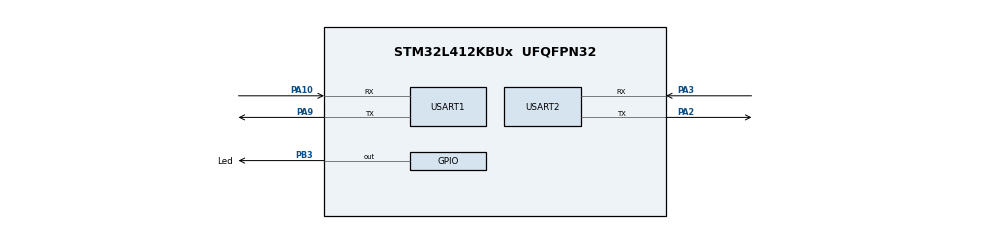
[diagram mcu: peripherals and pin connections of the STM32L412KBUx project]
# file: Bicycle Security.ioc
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FREERTOS.Mutexes01=uartMutex,Dynamic,NULL
FREERTOS.Tasks01=defaultTask,0,128,Thread1,Default,NULL,Dynamic,NULL,NULL;myTask02,-3,128,Thread2,Default,NULL,Dynamic,NULL,NULL
Mcu.Family=STM32L4
Mcu.Name=STM32L412KBUx
Mcu.Package=UFQFPN32
NVIC.FPU_IRQn=true\:5\:0\:true\:false\:true\:true\:true
NVIC.PriorityGroup=NVIC_PRIORITYGROUP_4
NVIC.TIM1_UP_TIM16_IRQn=true\:0\:0\:false\:false\:true\:false\:false
NVIC.TimeBase=TIM1_UP_TIM16_IRQn
NVIC.TimeBaseIP=TIM16
NVIC.USART1_IRQn=true\:5\:0\:false\:false\:true\:true\:true
PA10.Mode=Asynchronous
PA10.Signal=USART1_RX
PA2.Mode=Asynchronous
PA2.Signal=USART2_TX
PA3.Mode=Asynchronous
PA3.Signal=USART2_RX
PA9.Mode=Asynchronous
PA9.Signal=USART1_TX
PB3\ (JTDO/TRACESWO).GPIO_Label=Led
PB3\ (JTDO/TRACESWO).Signal=GPIO_Output
ProjectManager.HeapSize=0x200
ProjectManager.StackSize=0x400
ProjectManager.TargetToolchain=MDK-ARM V5
RCC.ADCFreq_Value=4000000
RCC.HSE_VALUE=8000000
RCC.HSI48_VALUE=48000000
RCC.HSI_VALUE=16000000
RCC.LSE_VALUE=32768
RCC.MSI_VALUE=4000000
RCC.USBFreq_Value=4000000
RCC.VCOOutputFreq_Value=32000000
USART1.VirtualMode-Asynchronous=VM_ASYNC
USART2.VirtualMode-Asynchronous=VM_ASYNC
VP_FREERTOS_VS_ENABLE.Mode=Enabled
VP_SYS_VS_tim16.Mode=TIM16
board=custom

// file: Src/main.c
	/**
	******************************************************************************
	* @file           : main.c
	* @brief          : Main program body
	******************************************************************************
	* This notice applies to any and all portions of this file
	* that are not between comment pairs USER CODE BEGIN and
	* USER CODE END. Other portions of this file, whether
	* inserted by the user or by software development tools
	* are owned by their respective copyright owners.
	*
	* Copyright (c) 2019 STMicroelectronics International N.V.
	* All rights reserved.
	*
	* Redistribution and use in source and binary forms, with or without
	* modification, are permitted, provided that the following conditions are met:
	*
	* 1. Redistribution of source code must retain the above copyright notice,
	*    this list of conditions and the following disclaimer.
	* 2. Redistributions in binary form must reproduce the above copyright notice,
	*    this list of conditions and the following disclaimer in the documentation
	*    and/or other materials provided with the distribution.
	* 3. Neither the name of STMicroelectronics nor the names of other
	*    contributors to this software may be used to endorse or promote products
	*    derived from this software without specific written permission.
	* 4. This software, including modifications and/or derivative works of this
	*    software, must execute solely and exclusively on microcontroller or
	*    microprocessor devices manufactured by or for STMicroelectronics.
	* 5. Redistribution and use of this software other than as permitted under
	*    this license is void and will automatically terminate your rights under
	*    this license.
	*
	* THIS SOFTWARE IS PROVIDED BY STMICROELECTRONICS AND CONTRIBUTORS "AS IS"
	* AND ANY EXPRESS, IMPLIED OR STATUTORY WARRANTIES, INCLUDING, BUT NOT
	* LIMITED TO, THE IMPLIED WARRANTIES OF MERCHANTABILITY, FITNESS FOR A
	* PARTICULAR PURPOSE AND NON-INFRINGEMENT OF THIRD PARTY INTELLECTUAL PROPERTY
	* RIGHTS ARE DISCLAIMED TO THE FULLEST EXTENT PERMITTED BY LAW. IN NO EVENT
	* SHALL STMICROELECTRONICS OR CONTRIBUTORS BE LIABLE FOR ANY DIRECT, INDIRECT,
	* INCIDENTAL, SPECIAL, EXEMPLARY, OR CONSEQUENTIAL DAMAGES (INCLUDING, BUT NOT
	* LIMITED TO, PROCUREMENT OF SUBSTITUTE GOODS OR SERVICES; LOSS OF USE, DATA,
	* OR PROFITS; OR BUSINESS INTERRUPTION) HOWEVER CAUSED AND ON ANY THEORY OF
	* LIABILITY, WHETHER IN CONTRACT, STRICT LIABILITY, OR TORT (INCLUDING
	* NEGLIGENCE OR OTHERWISE) ARISING IN ANY WAY OUT OF THE USE OF THIS SOFTWARE,
	* EVEN IF ADVISED OF THE POSSIBILITY OF SUCH DAMAGE.
	*
	******************************************************************************
	*/
	/* Includes ------------------------------------------------------------------*/
	#include "main.h"
	#include "stm32l4xx_hal.h"
	#include "cmsis_os.h"
	#include "stdbool.h"
	#include <string.h>
	#include <stdio.h>
	/* USER CODE BEGIN Includes */
	#define DEBUG true
	/* USER CODE END Includes */

	/* Private variables ---------------------------------------------------------*/
	UART_HandleTypeDef huart1;
	UART_HandleTypeDef huart2;

	osThreadId defaultTaskHandle;
	osThreadId myTask02Handle;
	osMutexId uartMutexHandle;

	char buffer[300];
	char * OK_reply = "";
	uint8_t reply[300];
	//char phone_no[] = "+923323567799"; // replace with your phone no.
	char *state, *timegps, *latitude, *longitude;
	uint8_t p1[ 20 ] = "Priority Thread 1\n";
	uint8_t p2[ 20 ] = "Priority Thread 2\n";
	uint8_t data[200];
	uint8_t ledOn[ 20 ] = "LED IS ON\n";
	uint8_t ledOff[ 20 ] = "LED IS OFF\n";
	uint8_t print[] = "HELLO WORLD\n";
	uint8_t print2[] = "SLEEPING WORLD\n";
	uint8_t msg[ 40 ] = "Message Recieved\n";
	uint8_t rx_data = 0;
	uint8_t rx_buffer[20];
	volatile bool check = false;
	volatile bool check2 = false;

	/* USER CODE BEGIN PV */
	char str[90];
	const char DEFAULT1[]     = "AT&F0\r\n";
	const char ECHO[]         = "ATE0\r\n";
	const char SAVE[]         = "AT&W\r\n";
	const char CMEE[]         = "AT+CMEE=2\r\n";
	const char AT[]           = "AT\r\n";
	const char CREG[]         = "AT+CREG?\r\n";
	const char CSQ[]          = "AT+CSQ\r\n";
	const char COPS[]         = "AT+COPS?\r\n";
	const char SAPBR3_1[]     = "AT+SAPBR=3,1,\"CONTYPE\",\"GPRS\"\r\n";
	const char APN[]          = "AT+SAPBR=3,1,\"APN\",\"internet\"\r\n";
	const char USER[]         = "AT+SAPBR=3,1,\"USER\",\"Telenor\"\r\n";
	const char PWD[]          = "AT+SAPBR=3,1,\"PWD\",\"Telenor\"\r\n";
	const char SAPBR1_1[]     = "AT+SAPBR=1,1\r\n";
	const char SAPBR0_1[]     = "AT+SAPBR=0,1\r\n";
	const char SAPBR2_1[]     = "AT+SAPBR=2,1\r\n";   //AT+SAPBR=0,1\r\n to slose bearier
	const char HTTPINIT[]     = "AT+HTTPINIT\r\n";
	const char HTTPPARACID[]  = "AT+HTTPPARA=\"CID\",1\r\n";
	//const char HTTPSTATUS[] = "AT+HTTPSTATUS?\r\n";
	const char HTTPACTION[]   = "AT+HTTPACTION=0\r\n";
	const char HTTPREAD[]     = "AT+HTTPREAD\r\n";
	const char HTTPTERM[]     = "AT+HTTPTERM\r\n";
	const char NewLine[]      = "\r\n";
	char* OK_REPLY;

	/* USER CODE END PV */

	/* Private function prototypes -----------------------------------------------*/
	void SystemClock_Config(void);
	static void MX_GPIO_Init(void);
	static void MX_USART1_UART_Init(void);
	static void MX_USART2_UART_Init(void);
	void Thread1(void const * argument);
	void Thread2(void const * argument);
	void setup(void);
	void loop(void);
	void sendMSG(char*, char*);
	void updateSerial(void);
	void gprs(void);
	char* Check_OK(char []);

	/* USER CODE BEGIN PFP */
	/* Private function prototypes -----------------------------------------------*/

	/* USER CODE END PFP */

	/* USER CODE BEGIN 0 */
	//void HAL_UART_RxCpltCallback(UART_HandleTypeDef *huart)
	//{
	//	HAL_UART_Transmit ( &huart2, print2 , sizeof( print2 ), 100 );
	//	if(huart->Instance == USART2){
	//		HAL_UART_Receive_IT ( &huart2, &rx_data , 1);
	//	  HAL_UART_Transmit ( &huart2, &rx_data , 1, 100 );
	//		check = true;
	//	}
	//	if(huart->Instance == USART1){
	//		HAL_UART_Receive_IT ( &huart1, &rx_data , 1);
	//	  HAL_UART_Transmit ( &huart2, &rx_data , 1, 100 );
	//		check2 = true;
	//	}
	//}
	/* USER CODE END 0 */

	/**
	* @brief  The application entry point.
	*
	* @retval None
	*/
	int main(void)
	{

	/* MCU Configuration----------------------------------------------------------*/

	/* Reset of all peripherals, Initializes the Flash interface and the Systick. */
	HAL_Init();

	/* Configure the system clock */
	SystemClock_Config();

	/* Initialize all configured peripherals */
	MX_GPIO_Init();
	MX_USART1_UART_Init();
	MX_USART2_UART_Init();
	/* USER CODE BEGIN 2 */
	setup();
	//	HAL_UART_Receive_IT(&huart2, &rx_data, 1);
	//	HAL_UART_Receive_IT(&huart1, &rx_data, 1);
	/* USER CODE END 2 */

	/* Create the mutex(es) */
	/* definition and creation of uartMutex */
	osMutexDef(uartMutex);
	uartMutexHandle = osMutexCreate(osMutex(uartMutex));

	/* Create the thread(s) */
	/* definition and creation of defaultTask */
	osThreadDef(defaultTask, Thread1, osPriorityRealtime, 0, 128);
	defaultTaskHandle = osThreadCreate(osThread(defaultTask), NULL);

	/* definition and creation of myTask02 */
	osThreadDef(myTask02, Thread2, osPriorityHigh, 0, 128);
	myTask02Handle = osThreadCreate(osThread(myTask02), NULL);

	/* Start scheduler */
	osKernelStart();

	/* We should never get here as control is now taken by the scheduler */

	/* Infinite loop */
	/* USER CODE BEGIN WHILE */
	setvbuf(stdin, NULL, _IONBF, 0);
	while (1)
	{

	}
	/* USER CODE END 3 */

	}

	/**
	* @brief System Clock Configuration
	* @retval None
	*/

	void sendMSG(char* latitude, char* longitude){
	char nl[] = "\r\n";
	uint8_t CMGS[] = "AT+CMGS=\"+923323567799""\"\r\n";
	char URL[100];
	char foo[] = { 26 };
	char *Latitude , *Longitude;
	Latitude = latitude;
	Longitude = longitude;
	memset(URL , '\0', strlen(URL));
	strcpy(URL , "http://maps.google.com/maps?q=loc:");
	strcat (URL , Latitude);
	strcat(URL , ",");
	strcat (URL , Longitude);
	if(DEBUG){
	osSemaphoreWait(uartMutexHandle ,portMAX_DELAY);
	HAL_UART_Transmit ( &huart2, (uint8_t*)nl, sizeof( nl ), 1000 );
	osSemaphoreRelease(uartMutexHandle);
	}
	memset( reply, '\0', sizeof( reply ) );
	osSemaphoreWait(uartMutexHandle ,portMAX_DELAY);
	HAL_UART_Transmit (&huart1, (uint8_t*)CMGS, strlen( CMGS ), 1000 );
	HAL_Delay(30);
	HAL_UART_Transmit ( &huart1, (uint8_t*)URL, strlen( URL ), 1000 );
	HAL_UART_Transmit( &huart1, (uint8_t*)foo, strlen( foo ), 1000);
	HAL_UART_Transmit (&huart1, (uint8_t*)nl, sizeof( nl ), 1000 );
	HAL_UART_Transmit (&huart1, (uint8_t*)nl, sizeof( nl ), 1000 );
	HAL_UART_Receive  (&huart1, (uint8_t*)reply, sizeof(reply), 1000);
	osSemaphoreRelease(uartMutexHandle);
	if(DEBUG){
	osSemaphoreWait(uartMutexHandle ,portMAX_DELAY);
	HAL_UART_Transmit (&huart2, (uint8_t*)reply, sizeof( reply ), 1000 );
	osSemaphoreRelease(uartMutexHandle);
	}
	}

	void setup(void){
	HAL_GPIO_WritePin(Led_GPIO_Port, Led_Pin, GPIO_PIN_RESET);
	HAL_Delay(3000);
	HAL_GPIO_WritePin(Led_GPIO_Port, Led_Pin, GPIO_PIN_SET);
	HAL_Delay(3000);
	uint8_t initial[ 20 ] = "Initializing...\n";
	uint8_t factoryDefault[] = "AT&F\r\n";
	uint8_t AT[] = "AT\r\n";
	uint8_t CSMP[] = "AT+CSMP=17,167,0,0\r\n";
	uint8_t CMGF[] = "AT+CMGF=1\r\n";
	uint8_t CNMI[] = "AT+CNMI=1,2,0,0,0\r\n";
	uint8_t CGNSPWR[] = "AT+CGNSPWR=1\r\n";
	uint8_t CGNSSEQ[] = "AT+CGNSSEQ=RMC\r\n";
	uint8_t buffer[150];
		if(DEBUG){
	HAL_UART_Transmit ( &huart2, initial, sizeof( initial ), 10 );
		}
	memset(buffer,0,sizeof(buffer));
	HAL_UART_Transmit (&huart1, factoryDefault, sizeof( factoryDefault ), 10 );
	HAL_UART_Receive(&huart1, buffer, sizeof(buffer), 10);
		if(DEBUG){
	HAL_UART_Transmit ( &huart2, buffer, sizeof( buffer ), 10 );
		}
	memset(buffer,0,sizeof(buffer));
	HAL_UART_Transmit (&huart1, AT, sizeof( AT ), 10 );
	HAL_UART_Receive(&huart1, buffer, sizeof(buffer), 10);
		if(DEBUG){
	HAL_UART_Transmit ( &huart2, buffer, sizeof( buffer ), 10 );
		}
	memset(buffer,0,sizeof(buffer));
	HAL_UART_Transmit (&huart1, CSMP, sizeof( CSMP), 10 );
	HAL_UART_Receive(&huart1, buffer, sizeof(buffer), 10);
		if(DEBUG){
	HAL_UART_Transmit ( &huart2, buffer, sizeof( buffer ), 10 );
		}
	memset(buffer,0,sizeof(buffer));
	HAL_UART_Transmit (&huart1, CGNSPWR, sizeof( CGNSPWR ), 10 );
	HAL_UART_Receive(&huart1, buffer, sizeof(buffer), 10);
		if(DEBUG){
	HAL_UART_Transmit ( &huart2, buffer, sizeof( buffer ), 10 );
		}
	memset(buffer,0,sizeof(buffer));
	HAL_UART_Transmit (&huart1, CGNSSEQ, sizeof( CGNSSEQ ), 10 );
	HAL_UART_Receive(&huart1, buffer, sizeof(buffer), 10);
		if(DEBUG){
	HAL_UART_Transmit ( &huart2, buffer, sizeof( buffer ), 10 );
		}
	memset(buffer,0,sizeof(buffer));
	HAL_UART_Transmit (&huart1, CMGF, sizeof( CMGF ), 10 );
	HAL_UART_Receive(&huart1, buffer, sizeof(buffer), 10);
		if(DEBUG){
	HAL_UART_Transmit ( &huart2, buffer, sizeof( buffer ), 10 );
		}
	memset(buffer,0,sizeof(buffer));
	HAL_UART_Transmit (&huart1, CNMI, sizeof( CNMI ), 10 );
	HAL_UART_Receive(&huart1, buffer, sizeof(buffer), 10);
		if(DEBUG){
	HAL_UART_Transmit ( &huart2, buffer, sizeof( buffer ), 10 );
		}
	}

	void updateSerial(void){

	memset( data, '\0', sizeof( data ) );
	osSemaphoreWait(uartMutexHandle ,portMAX_DELAY);
	HAL_UART_Receive(&huart1, data, sizeof(data), 1000);
	osSemaphoreRelease(uartMutexHandle);
	if ((strstr(data, "On")) || (strstr(data, "Off")))
	{
	if (strstr(data, "On")) {
	HAL_GPIO_WritePin(Led_GPIO_Port, Led_Pin, GPIO_PIN_SET);
		if(DEBUG){
	osSemaphoreWait(uartMutexHandle ,portMAX_DELAY);
	HAL_UART_Transmit ( &huart2, ledOn, sizeof(ledOn), 10 );
	osSemaphoreRelease(uartMutexHandle);
		}
	}
	else if (strstr(data, "Off")) {
	HAL_GPIO_WritePin(Led_GPIO_Port, Led_Pin, GPIO_PIN_RESET);
		if(DEBUG){
	osSemaphoreWait(uartMutexHandle ,portMAX_DELAY);
	HAL_UART_Transmit ( &huart2, ledOff, sizeof(ledOff), 10 );
	osSemaphoreRelease(uartMutexHandle);
		}
	}
	if(DEBUG){
	osSemaphoreWait(uartMutexHandle ,portMAX_DELAY);
	HAL_UART_Transmit ( &huart2,p1, sizeof( p1 ), 10 );
	HAL_UART_Transmit(&huart2, data, sizeof(data), 10 );
	osSemaphoreRelease(uartMutexHandle);
	}
	}
	}

	void loop(void){
	uint8_t comma_count = 0;
	char delim[] = ",";
	char dataGSM[100];
	char *token;
	uint8_t newline[] = "\n";
	uint8_t CGNSINF[] = "AT+CGNSINF\r";
	uint8_t varState[] = "\n\nState  : ";
	uint8_t varfTime[] = "    Time  : ";
	uint8_t varLatitude[] = "    Latitude  : ";
	uint8_t varLongitude[] = "    Longitude  : ";
	uint8_t initGPS[] = "\nGPS InitializingЕ\n";
	memset(dataGSM,'\0',sizeof(dataGSM));
	osSemaphoreWait(uartMutexHandle ,portMAX_DELAY);
	HAL_UART_Transmit (&huart1, (uint8_t*)CGNSINF, sizeof( CGNSINF ), 5 );
	HAL_UART_Receive(&huart1, (uint8_t*)dataGSM, sizeof(dataGSM), 10);
	osSemaphoreRelease(uartMutexHandle);
		if(DEBUG){
	osSemaphoreWait(uartMutexHandle ,portMAX_DELAY);
	HAL_UART_Transmit ( &huart2, (uint8_t*)dataGSM, sizeof( dataGSM), 10 );
	osSemaphoreRelease(uartMutexHandle);
		}
	for(int i = 0; i< 15;i++){
	dataGSM[i] = ',';
	}
	token = strtok (dataGSM,delim);
	while (comma_count <= 3)
	{
	token = strtok(NULL, delim);
	comma_count++;
	switch (comma_count) {
	case 1 :
	state = token;
	break;
	case 2 :
	timegps = token;
	break;
	case 3 :
	latitude = token;
	break;
	case 4:
	longitude = token;
	break;
	}
	}
	if (*state != 0) {
	gprs();
	//sendMSG(latitude,longitude);
		if(DEBUG){
	osSemaphoreWait(uartMutexHandle ,portMAX_DELAY);
	HAL_UART_Transmit ( &huart2, varState, sizeof( varState ), 10 );
	osSemaphoreRelease(uartMutexHandle);
	osSemaphoreWait(uartMutexHandle ,portMAX_DELAY);
	HAL_UART_Transmit ( &huart2, (uint8_t*)state, strlen( state ), 10);
	osSemaphoreRelease(uartMutexHandle);
	osSemaphoreWait(uartMutexHandle ,portMAX_DELAY);
	HAL_UART_Transmit ( &huart2, varfTime, sizeof( varfTime ), 10 );
	osSemaphoreRelease(uartMutexHandle);
	osSemaphoreWait(uartMutexHandle ,portMAX_DELAY);
	HAL_UART_Transmit ( &huart2, (uint8_t*)timegps , strlen( timegps ), 10 );
	osSemaphoreRelease(uartMutexHandle);
	osSemaphoreWait(uartMutexHandle ,portMAX_DELAY);
	HAL_UART_Transmit ( &huart2, varLatitude, sizeof( varLatitude ), 10 );
	osSemaphoreRelease(uartMutexHandle);
	osSemaphoreWait(uartMutexHandle ,portMAX_DELAY);
	HAL_UART_Transmit ( &huart2, (uint8_t*)latitude, strlen( latitude ), 10 );
	osSemaphoreRelease(uartMutexHandle);
	osSemaphoreWait(uartMutexHandle ,portMAX_DELAY);
	HAL_UART_Transmit ( &huart2, varLongitude, sizeof( varLongitude ), 10 );
	osSemaphoreRelease(uartMutexHandle);
	osSemaphoreWait(uartMutexHandle ,portMAX_DELAY);
	HAL_UART_Transmit ( &huart2, (uint8_t*)longitude , strlen( longitude ), 10 );
	osSemaphoreRelease(uartMutexHandle);
	osSemaphoreWait(uartMutexHandle ,portMAX_DELAY);
	HAL_UART_Transmit (&huart2, (uint8_t*)newline, sizeof( newline ), 10 );
	osSemaphoreRelease(uartMutexHandle);
	osSemaphoreWait(uartMutexHandle ,portMAX_DELAY);
	HAL_UART_Transmit (&huart2, (uint8_t*)newline, sizeof( newline ), 10 );
	osSemaphoreRelease(uartMutexHandle);
}
	}
	else {
		if(DEBUG){
	osSemaphoreWait(uartMutexHandle ,portMAX_DELAY);
	HAL_UART_Transmit ( &huart2, (uint8_t*)initGPS, sizeof( initGPS ), 10 );
	osSemaphoreRelease(uartMutexHandle);
		}
	}
	}

	void gprs(void){
			char *state = "ON";
	strcpy(str, "AT+HTTPPARA=\"""URL""\",\"http://zafarobad.000webhostapp.com/sensor1.php?api=XjUyT9K0&&temp=");
	strcat (str, state);
	strcat (str, "\"\r\n");
		if(DEBUG){
	osSemaphoreWait(uartMutexHandle ,portMAX_DELAY);
	HAL_UART_Transmit ( &huart2, (uint8_t*)str, sizeof( str ), 20 );
	osSemaphoreRelease(uartMutexHandle);
		}
	for(int i = 0; i < 10 ; i++){
	memset(buffer,'\0',sizeof(buffer));
	osSemaphoreWait(uartMutexHandle ,portMAX_DELAY);
	HAL_UART_Transmit (&huart1,(uint8_t*) AT, sizeof( AT ), 10 );
	HAL_UART_Receive(&huart1, (uint8_t*) buffer, sizeof(buffer), 10);
		if(DEBUG){
	HAL_UART_Transmit ( &huart2, (uint8_t*)buffer, sizeof( buffer ), 10 );
		}
	osSemaphoreRelease(uartMutexHandle);
	OK_REPLY =	Check_OK(buffer);
	if(strncmp(OK_REPLY,"true",5) == 0){
	break;
	}
	}
	for(int i = 0; i < 10 ; i++){
	memset(buffer,'\0',sizeof(buffer));
	osSemaphoreWait(uartMutexHandle ,portMAX_DELAY);
	HAL_UART_Transmit (&huart1, (uint8_t*)COPS, sizeof( COPS ), 10 );
	HAL_UART_Receive(&huart1, (uint8_t*)buffer, sizeof(buffer), 10);
		if(DEBUG){
	HAL_UART_Transmit ( &huart2, (uint8_t*)buffer, sizeof( buffer ), 10 );
		}
	osSemaphoreRelease(uartMutexHandle);
	OK_REPLY =	Check_OK(buffer);
	if(strncmp(OK_REPLY,"true",5) == 0){
	break;
	}
	}
	for(int i = 0; i < 10 ; i++){
	memset(buffer,'\0',sizeof(buffer));
	osSemaphoreWait(uartMutexHandle ,portMAX_DELAY);
	HAL_UART_Transmit (&huart1, (uint8_t*)SAPBR3_1, sizeof( SAPBR3_1 ), 10 );
	HAL_UART_Receive(&huart1, (uint8_t*)buffer, sizeof(buffer), 10);
		if(DEBUG){
	HAL_UART_Transmit ( &huart2, (uint8_t*)buffer, sizeof( buffer ), 10 );
		}
	osSemaphoreRelease(uartMutexHandle);
	OK_REPLY =	Check_OK(buffer);
	if(strncmp(OK_REPLY,"true",5) == 0){
	break;
	}
	}
		for(int i = 0; i < 10 ; i++){
	memset(buffer,'\0',sizeof(buffer));
	osSemaphoreWait(uartMutexHandle ,portMAX_DELAY);
	HAL_UART_Transmit (&huart1, (uint8_t*)APN , sizeof( USER ), 10 );
	HAL_UART_Receive(&huart1, (uint8_t*)buffer, sizeof(buffer), 10);
		if(DEBUG){
	HAL_UART_Transmit ( &huart2, (uint8_t*)buffer, sizeof( buffer ), 10 );
		}
	osSemaphoreRelease(uartMutexHandle);
	OK_REPLY =	Check_OK(buffer);
	if(strncmp(OK_REPLY,"true",5) == 0){
	break;
	}
	}
			for(int i = 0; i < 10 ; i++){
	memset(buffer,'\0',sizeof(buffer));
	osSemaphoreWait(uartMutexHandle ,portMAX_DELAY);
	HAL_UART_Transmit (&huart1, (uint8_t*)USER, sizeof( USER ), 10 );
	HAL_UART_Receive(&huart1, (uint8_t*)buffer, sizeof(buffer), 10);
		if(DEBUG){
	HAL_UART_Transmit ( &huart2, (uint8_t*)buffer, sizeof( buffer ), 10 );
		}
	osSemaphoreRelease(uartMutexHandle);
	OK_REPLY =	Check_OK(buffer);
	if(strncmp(OK_REPLY,"true",5) == 0){
	break;
	}
	}
				for(int i = 0; i < 10 ; i++){
	memset(buffer,'\0',sizeof(buffer));
	osSemaphoreWait(uartMutexHandle ,portMAX_DELAY);
	HAL_UART_Transmit (&huart1, (uint8_t*)PWD, sizeof( PWD ), 10 );
	HAL_UART_Receive(&huart1, (uint8_t*)buffer, sizeof(buffer), 10);
		if(DEBUG){
	HAL_UART_Transmit ( &huart2, (uint8_t*)buffer, sizeof( buffer ), 10 );
		}
	osSemaphoreRelease(uartMutexHandle);
	OK_REPLY =	Check_OK(buffer);
	if(strncmp(OK_REPLY,"true",5) == 0){
	break;
	}
	}
	for(int i = 0; i < 10 ; i++){
	memset(buffer,'\0',sizeof(buffer));
	osSemaphoreWait(uartMutexHandle ,portMAX_DELAY);
	HAL_UART_Transmit (&huart1, (uint8_t*)SAPBR1_1, sizeof( SAPBR1_1 ), 10 );
	HAL_UART_Receive(&huart1, (uint8_t*)buffer, sizeof(buffer), 1000);
			if(DEBUG){
		HAL_UART_Transmit ( &huart2, (uint8_t*)buffer, sizeof( buffer ), 10 );
			}
				osSemaphoreRelease(uartMutexHandle);
	OK_REPLY =	Check_OK(buffer);
	if(strncmp(OK_REPLY,"true",5) == 0){
	break;
	}
	}
		for(int i = 0; i < 10 ; i++){
	memset(buffer,'\0',sizeof(buffer));
	osSemaphoreWait(uartMutexHandle ,portMAX_DELAY);
	HAL_UART_Transmit (&huart1, (uint8_t*)SAPBR2_1, sizeof( SAPBR2_1 ), 10 );
	HAL_UART_Receive(&huart1, (uint8_t*)buffer, sizeof(buffer), 1000);
			if(DEBUG){
			HAL_UART_Transmit ( &huart2, (uint8_t*)buffer, sizeof( buffer ), 10 );
			}
							osSemaphoreRelease(uartMutexHandle);
	OK_REPLY =	Check_OK(buffer);
	if(strncmp(OK_REPLY,"true",5) == 0){
	break;
	}
	}
	for(int i = 0; i < 10 ; i++){
	memset(buffer,'\0',sizeof(buffer));
	osSemaphoreWait(uartMutexHandle ,portMAX_DELAY);
	HAL_UART_Transmit (&huart1,(uint8_t*) HTTPINIT, sizeof( HTTPINIT ), 5 );
	HAL_UART_Receive(&huart1, (uint8_t*)buffer, sizeof(buffer), 5);
		if(DEBUG){
	HAL_UART_Transmit ( &huart2,(uint8_t*) buffer, sizeof( buffer ), 5 );
		}
	osSemaphoreRelease(uartMutexHandle);
	OK_REPLY =	Check_OK(buffer);
	if(strncmp(OK_REPLY,"true",5) == 0){
	break;
	}
	}
	for(int i = 0; i < 10 ; i++){
	memset(buffer,'\0',sizeof(buffer));
	osSemaphoreWait(uartMutexHandle ,portMAX_DELAY);
	HAL_UART_Transmit (&huart1, (uint8_t*)HTTPPARACID, sizeof( HTTPPARACID ), 5 );
	HAL_UART_Receive(&huart1, (uint8_t*)buffer, sizeof(buffer), 5);
		if(DEBUG){
	HAL_UART_Transmit ( &huart2, (uint8_t*)buffer, sizeof( buffer ), 5 );
		}
	osSemaphoreRelease(uartMutexHandle);
	OK_REPLY =	Check_OK(buffer);
	if(strncmp(OK_REPLY,"true",5) == 0){
	break;
	}
	}
	for(int i = 0; i < 10 ; i++){
	memset(buffer,'\0',sizeof(buffer));
	osSemaphoreWait(uartMutexHandle ,portMAX_DELAY);
	HAL_UART_Transmit (&huart1, (uint8_t*)str, sizeof( str ), 20 );
	HAL_UART_Receive(&huart1, (uint8_t*)buffer, sizeof(buffer), 20);
		if(DEBUG){
	HAL_UART_Transmit ( &huart2, (uint8_t*)buffer, sizeof( buffer ), 20 );
		}
	osSemaphoreRelease(uartMutexHandle);
	OK_REPLY =	Check_OK(buffer);
	if(strncmp(OK_REPLY,"true",5) == 0){
	break;
	}
	}
	for(int i = 0; i < 10 ; i++){
	memset(buffer,'\0',sizeof(buffer));
	osSemaphoreWait(uartMutexHandle ,portMAX_DELAY);
	HAL_UART_Transmit (&huart1, (uint8_t*)HTTPACTION, sizeof( HTTPACTION ), 5 );
	HAL_UART_Receive(&huart1, (uint8_t*)buffer, sizeof(buffer), 5);
		if(DEBUG){
	HAL_UART_Transmit ( &huart2, (uint8_t*)buffer, sizeof( buffer ), 5 );
		}
	osSemaphoreRelease(uartMutexHandle);
	OK_REPLY =	Check_OK(buffer);
	if(strncmp(OK_REPLY,"true",5) == 0){
	break;
	}
	}
	for(int i = 0; i < 10 ; i++){
	memset(buffer,'\0',sizeof(buffer));
	osSemaphoreWait(uartMutexHandle ,portMAX_DELAY);
	HAL_UART_Transmit (&huart1, (uint8_t*)HTTPREAD, sizeof( HTTPREAD), 5 );
	HAL_UART_Receive(&huart1, (uint8_t*)buffer, sizeof(buffer), 5);
		if(DEBUG){
	HAL_UART_Transmit ( &huart2, (uint8_t*)buffer, sizeof( buffer ), 5 );
		}
	osSemaphoreRelease(uartMutexHandle);
	OK_REPLY =	Check_OK(buffer);
	if(strncmp(OK_REPLY,"true",5) == 0){
	break;
	}
	}
	for(int i = 0; i < 20 ; i++){
	memset(buffer,'\0',sizeof(buffer));
	osSemaphoreWait(uartMutexHandle ,portMAX_DELAY);
	HAL_UART_Transmit (&huart1, (uint8_t*)HTTPTERM, sizeof( HTTPTERM ), 5);
	HAL_UART_Receive(&huart1, (uint8_t*)buffer, sizeof(buffer), 10);
		if(DEBUG){
	HAL_UART_Transmit ( &huart2, (uint8_t*)buffer, sizeof( buffer ), 5 );
		}
	osSemaphoreRelease(uartMutexHandle);
	OK_REPLY =	Check_OK(buffer);
	if(strncmp(OK_REPLY,"true",5) == 0){
	break;
	}
	}
		for(int i = 0; i < 10 ; i++){
	memset(buffer,'\0',sizeof(buffer));
	osSemaphoreWait(uartMutexHandle ,portMAX_DELAY);
	HAL_UART_Transmit (&huart1, (uint8_t*)SAPBR0_1, sizeof( SAPBR0_1 ), 10 );
	HAL_UART_Receive(&huart1, (uint8_t*)buffer, sizeof(buffer), 1000);
			if(DEBUG){
			HAL_UART_Transmit ( &huart2, (uint8_t*)buffer, sizeof( buffer ), 10 );
			}
			osSemaphoreRelease(uartMutexHandle);
	OK_REPLY =	Check_OK(buffer);
	if(strncmp(OK_REPLY,"true",5) == 0){
	break;
	}
	}
	}

	char* Check_OK(char buffer[]){
	const char OK[]           = "\nOK Found\n";
	const char NO_OK[]        = "\nOK Not Found\n";
	for(int i = 0; i < 300; i++){
	if((buffer[i] == 'O') && (buffer[i+1] == 'K')) {
		if(DEBUG){
	osSemaphoreWait(uartMutexHandle ,portMAX_DELAY);
	HAL_UART_Transmit ( &huart2, (uint8_t*)OK, sizeof( OK ), 5 );
	osSemaphoreRelease(uartMutexHandle);
		}
	OK_reply = "true";
	break;
	}
	else{
	//HAL_UART_Transmit ( &huart2, (uint8_t*)NO_OK, sizeof( NO_OK ), 10 );
	OK_reply = "false";
	}
	}
	return OK_reply;
	}

	void SystemClock_Config(void)
	{

	RCC_OscInitTypeDef RCC_OscInitStruct;
	RCC_ClkInitTypeDef RCC_ClkInitStruct;
	RCC_PeriphCLKInitTypeDef PeriphClkInit;

	/**Configure the main internal regulator output voltage
	*/
	if (HAL_PWREx_ControlVoltageScaling(PWR_REGULATOR_VOLTAGE_SCALE1) != HAL_OK)
	{
	_Error_Handler(__FILE__, __LINE__);
	}

	/**Initializes the CPU, AHB and APB busses clocks
	*/
	RCC_OscInitStruct.OscillatorType = RCC_OSCILLATORTYPE_MSI;
	RCC_OscInitStruct.MSIState = RCC_MSI_ON;
	RCC_OscInitStruct.MSICalibrationValue = 0;
	RCC_OscInitStruct.MSIClockRange = RCC_MSIRANGE_6;
	RCC_OscInitStruct.PLL.PLLState = RCC_PLL_NONE;
	if (HAL_RCC_OscConfig(&RCC_OscInitStruct) != HAL_OK)
	{
	_Error_Handler(__FILE__, __LINE__);
	}

	/**Initializes the CPU, AHB and APB busses clocks
	*/
	RCC_ClkInitStruct.ClockType = RCC_CLOCKTYPE_HCLK|RCC_CLOCKTYPE_SYSCLK
			|RCC_CLOCKTYPE_PCLK1|RCC_CLOCKTYPE_PCLK2;
	RCC_ClkInitStruct.SYSCLKSource = RCC_SYSCLKSOURCE_MSI;
	RCC_ClkInitStruct.AHBCLKDivider = RCC_SYSCLK_DIV1;
	RCC_ClkInitStruct.APB1CLKDivider = RCC_HCLK_DIV1;
	RCC_ClkInitStruct.APB2CLKDivider = RCC_HCLK_DIV1;

	if (HAL_RCC_ClockConfig(&RCC_ClkInitStruct, FLASH_LATENCY_0) != HAL_OK)
	{
	_Error_Handler(__FILE__, __LINE__);
	}

	PeriphClkInit.PeriphClockSelection = RCC_PERIPHCLK_USART1|RCC_PERIPHCLK_USART2;
	PeriphClkInit.Usart1ClockSelection = RCC_USART1CLKSOURCE_PCLK2;
	PeriphClkInit.Usart2ClockSelection = RCC_USART2CLKSOURCE_PCLK1;
	if (HAL_RCCEx_PeriphCLKConfig(&PeriphClkInit) != HAL_OK)
	{
	_Error_Handler(__FILE__, __LINE__);
	}

	/**Configure the Systick interrupt time
	*/
	HAL_SYSTICK_Config(HAL_RCC_GetHCLKFreq()/1000);

	/**Configure the Systick
	*/
	HAL_SYSTICK_CLKSourceConfig(SYSTICK_CLKSOURCE_HCLK);

	/* SysTick_IRQn interrupt configuration */
	HAL_NVIC_SetPriority(SysTick_IRQn, 15, 0);
	}

	/* USART1 init function */
	static void MX_USART1_UART_Init(void)
	{

	huart1.Instance = USART1;
	huart1.Init.BaudRate = 115200;
	huart1.Init.WordLength = UART_WORDLENGTH_8B;
	huart1.Init.StopBits = UART_STOPBITS_1;
	huart1.Init.Parity = UART_PARITY_NONE;
	huart1.Init.Mode = UART_MODE_TX_RX;
	huart1.Init.HwFlowCtl = UART_HWCONTROL_NONE;
	huart1.Init.OverSampling = UART_OVERSAMPLING_16;
	huart1.Init.OneBitSampling = UART_ONE_BIT_SAMPLE_DISABLE;
	huart1.AdvancedInit.AdvFeatureInit = UART_ADVFEATURE_NO_INIT;
	if (HAL_UART_Init(&huart1) != HAL_OK)
	{
	_Error_Handler(__FILE__, __LINE__);
	}

	}

	/* USART2 init function */
	static void MX_USART2_UART_Init(void)
	{

	huart2.Instance = USART2;
	huart2.Init.BaudRate = 115200;
	huart2.Init.WordLength = UART_WORDLENGTH_8B;
	huart2.Init.StopBits = UART_STOPBITS_1;
	huart2.Init.Parity = UART_PARITY_NONE;
	huart2.Init.Mode = UART_MODE_TX_RX;
	huart2.Init.HwFlowCtl = UART_HWCONTROL_NONE;
	huart2.Init.OverSampling = UART_OVERSAMPLING_16;
	huart2.Init.OneBitSampling = UART_ONE_BIT_SAMPLE_DISABLE;
	huart2.AdvancedInit.AdvFeatureInit = UART_ADVFEATURE_NO_INIT;
	if (HAL_UART_Init(&huart2) != HAL_OK)
	{
	_Error_Handler(__FILE__, __LINE__);
	}

	}

	/** Configure pins as
	* Analog
	* Input
	* Output
	* EVENT_OUT
	* EXTI
	*/
	static void MX_GPIO_Init(void)
	{

	GPIO_InitTypeDef GPIO_InitStruct;

	/* GPIO Ports Clock Enable */
	__HAL_RCC_GPIOA_CLK_ENABLE();
	__HAL_RCC_GPIOB_CLK_ENABLE();

	/*Configure GPIO pin Output Level */
	HAL_GPIO_WritePin(Led_GPIO_Port, Led_Pin, GPIO_PIN_RESET);

	/*Configure GPIO pin : Led_Pin */
	GPIO_InitStruct.Pin = Led_Pin;
	GPIO_InitStruct.Mode = GPIO_MODE_OUTPUT_PP;
	GPIO_InitStruct.Pull = GPIO_NOPULL;
	GPIO_InitStruct.Speed = GPIO_SPEED_FREQ_LOW;
	HAL_GPIO_Init(Led_GPIO_Port, &GPIO_InitStruct);

	}

	void Thread1(void const * argument)
	{

	/* USER CODE BEGIN 5 */
	/* Infinite loop */
	for(;;)
	{
	MX_USART1_UART_Init();
	updateSerial();
	osDelay(10);
	}
	/* USER CODE END 5 */
	}

	void Thread2(void const * argument)
	{
	/* USER CODE BEGIN Thread2 */
	/* Infinite loop */
	for(;;)
	{
	MX_USART1_UART_Init();
	loop();
	//osDelay(10);
	}
	/* USER CODE END Thread2 */
	}

	/**
	* @brief  Period elapsed callback in non blocking mode
	* @note   This function is called  when TIM16 interrupt took place, inside
	* HAL_TIM_IRQHandler(). It makes a direct call to HAL_IncTick() to increment
	* a global variable "uwTick" used as application time base.
	* @param  htim : TIM handle
	* @retval None
	*/
	void HAL_TIM_PeriodElapsedCallback(TIM_HandleTypeDef *htim)
	{
	if (htim->Instance == TIM16) {
	HAL_IncTick();
	}
	}

	/**
	* @brief  This function is executed in case of error occurrence.
	* @param  file: The file name as string.
	* @param  line: The line in file as a number.
	* @retval None
	*/
	void _Error_Handler(char *file, int line)
	{
	while(1)
	{
	}
	}

	#ifdef  USE_FULL_ASSERT
	/**
	* @brief  Reports the name of the source file and the source line number
	*         where the assert_param error has occurred.
	* @param  file: pointer to the source file name
	* @param  line: assert_param error line source number
	* @retval None
	*/
	void assert_failed(uint8_t* file, uint32_t line)
	{
	}
	#endif /* USE_FULL_ASSERT */

	/**
	* @}
	*/

	/**
	* @}
	*/

	/************************ (C) COPYRIGHT STMicroelectronics *****END OF FILE****/
